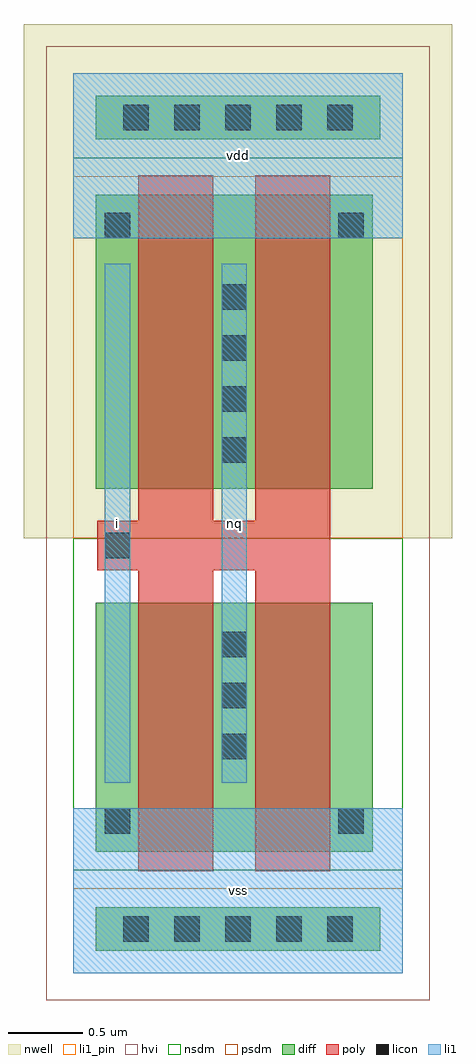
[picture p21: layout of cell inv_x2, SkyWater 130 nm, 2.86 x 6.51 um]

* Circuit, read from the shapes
.subckt inv_x2 i nq vdd vss
XM1 nq i vss VSUBS sky130_fd_pr__nfet_g5v0d10v5 w=1.66 l=0.5 m=2
XM2 nq i vdd n1 sky130_fd_pr__pfet_g5v0d10v5 w=1.96 l=0.5 m=2
.ends

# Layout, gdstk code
import gdstk
lib = gdstk.Library(unit=1e-6, precision=1e-09)
def R(c, l, rs):  # rectangles x0, y0, x1, y1
    for r in rs: c.add(gdstk.rectangle(r[:2], r[2:], *l))
def A(c, l, x, y, w, h, nx, ny, dx, dy):  # array of equal rectangles
    R(c, l, [(x+i*dx, y+j*dy, x+i*dx+w, y+j*dy+h) for i in range(nx) for j in range(ny)])
def P(c, l, *ps):  # polygons
    for p in ps: c.add(gdstk.Polygon(p, *l))
nwell = (64, 20)
diff = (65, 20)
poly = (66, 20)
licon = (66, 44)
li1_pin = (67, 16)
li1 = (67, 20)
hvi = (75, 20)
nsdm = (93, 44)
psdm = (94, 20)

inv_x2 = lib.new_cell('inv_x2')
R(inv_x2, nwell, [(-0.33,2.9,2.53,6.33)])
R(inv_x2, diff, [(0.15,0.15,2.05,0.44), (0.15,0.81,2,2.47), (0.15,3.23,2,5.19), (0.15,5.56,2.05,5.85)])
P(inv_x2, poly, [(0.435,0.68),(0.435,2.685),(0.16,2.685),(0.16,3.015),(0.435,3.015),(0.435,5.32),(0.935,5.32),(0.935,3.015),(1.215,3.015),(1.215,5.32),(1.715,5.32),(1.715,0.68),(1.215,0.68),(1.215,2.685),(0.935,2.685),(0.935,0.68)])
A(inv_x2, licon, 0.335, 0.21, 0.17, 0.17, 5, 2, 0.34, 5.41)
A(inv_x2, licon, 0.99, 1.425, 0.17, 0.17, 1, 3, 0, 0.34)
A(inv_x2, licon, 0.99, 3.405, 0.17, 0.17, 1, 4, 0, 0.34)
R(inv_x2, licon, [(0.21,0.93,0.38,1.1), (1.77,0.93,1.94,1.1), (0.21,2.765,0.38,2.935), (0.21,4.9,0.38,5.07), (1.77,4.9,1.94,5.07)])
R(inv_x2, li1_pin, [(0,0,2.2,1.1), (0.21,1.27,0.38,4.73), (0.99,1.27,1.16,4.73), (0,4.9,2.2,6)])
R(inv_x2, li1, [(0,0,2.2,1.1), (0.21,1.27,0.38,4.73), (0.99,1.27,1.16,4.73), (0,4.9,2.2,6)])
R(inv_x2, hvi, [(-0.18,-0.18,2.38,6.18)])
R(inv_x2, nsdm, [(0,0.685,2.2,2.9), (0,5.435,2.2,6)])
R(inv_x2, psdm, [(0,0,2.2,0.565), (0,2.9,2.2,5.315)])
inv_x2.add(gdstk.Label('vss', (1.1,0.55), layer=67, texttype=16))
inv_x2.add(gdstk.Label('vdd', (1.1,5.45), layer=67, texttype=16))
inv_x2.add(gdstk.Label('nq', (1.075,3), layer=67, texttype=16))
inv_x2.add(gdstk.Label('i', (0.295,3), layer=67, texttype=16))

lib.write_gds('inv_x2.gds')
